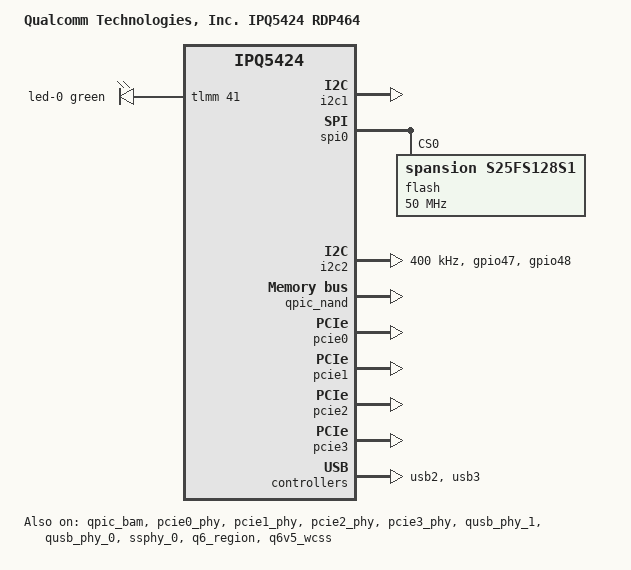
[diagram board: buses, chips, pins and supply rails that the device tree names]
// SPDX-License-Identifier: (GPL-2.0+ OR BSD-3-Clause)
/*
 * IPQ5424 RDP464 board device tree source
 *
 * Copyright (c) 2020-2021 The Linux Foundation. All rights reserved.
 * Copyright (c) 2022-2024 Qualcomm Innovation Center, Inc. All rights reserved.
 */

/dts-v1/;

#include "ipq5424-rdp-common.dtsi"

/ {
	model = "Qualcomm Technologies, Inc. IPQ5424 RDP464";
	compatible = "qcom,ipq5424-rdp464", "qcom,ipq5424";

	soc@0 {
		qupv3: geniqup@1ac0000 {

			i2c0: i2c@1a88000 {
				pinctrl-0 = <&qup_i2c0_default>;
				pinctrl-names = "default";
				status = "disabled";
			};

			i2c1: i2c@1a8c000 {
				pinctrl-0 = <&qup_i2c1_default>;
				pinctrl-names = "default";
				status = "okay";
			};

			spi0: spi@1a90000 {
				pinctrl-0 = <&qup_spi0_default>;
				pinctrl-names = "default";
				status = "okay";

				flash@0 {
					compatible = "spansion,s25fs128s1", "jedec,spi-nor";
					#address-cells = <1>;
					#size-cells = <1>;
					reg = <0>;
					spi-max-frequency = <50000000>;
				};
			};

			/delete-node/ spi@1a94000;

			i2c2: i2c@1a94000 {
				compatible = "qcom,geni-i2c";
				reg = <0x1a94000 0x4000>;
				/* i2c2 shares spi1 clock, so use spi1_clk as per gcc driver */
				clocks = <&gcc GCC_QUPV3_SPI1_CLK>;
				clock-names = "se";
				clock-frequency = <400000>;
				interrupts = <GIC_SPI 344 IRQ_TYPE_LEVEL_HIGH>;
				pinctrl-0 = <&qup_i2c2_default>;
				pinctrl-names = "default";
				status = "okay";
			};
		};

		leds {
			compatible = "gpio-leds";
			pinctrl-0 = <&gpio_leds_default>;
			pinctrl-names = "default";

			led-0 {
				color = <LED_COLOR_ID_GREEN>;
				function = LED_FUNCTION_WLAN;
				gpios = <&tlmm 41 GPIO_ACTIVE_HIGH>;
				linux,default-trigger = "phy0tx";
				default-state = "off";
			};
		};
	};
};

&qpic_bam {
	status = "okay";
};

&qpic_nand {
	status = "okay";
};

&sdhc {
	max-frequency = <192000000>;
	bus-width = <4>;
	mmc-ddr-1_8v;
	mmc-hs200-1_8v;
	non-removable;
	pinctrl-0 = <&sdc_default_state>;
	pinctrl-names = "default";
	status = "disabled";
};

&pcie0_phy {
	status = "okay";
};

&pcie0 {
	status = "okay";

	pcie0_rp {
		reg = <0 0 0 0 0>;

		qcom,mhi@0 {
			reg = <0 0 0 0 0>;
		};
	};
};

&pcie1_phy {
	status = "okay";
};

&pcie1 {
	status = "okay";

	pcie1_rp {
		reg = <0 0 0 0 0>;

		qcom,mhi@0 {
			reg = <0 0 0 0 0>;
		};
	};
};

&pcie2_phy {
	status = "okay";
};

&pcie2 {
	status = "okay";

	pcie2_rp {
		reg = <0 0 0 0 0>;

		qcom,mhi@0 {
			reg = <0 0 0 0 0>;
		};
	};
};

&pcie3_phy {
	status = "okay";
};

&pcie3 {
	status = "okay";

	pcie3_rp {
		reg = <0 0 0 0 0>;

		qcom,mhi@0 {
			reg = <0 0 0 0 0>;
		};
	};
};

&qusb_phy_1 {
	status = "okay";
};

&usb2 {
	status = "okay";
};

&qusb_phy_0 {
	status = "okay";
};

&ssphy_0 {
	status = "okay";
};

&usb3 {
	status = "okay";
};

&q6_region {
	status = "okay";
};

&q6v5_wcss {
	status = "okay";
};

&tlmm {
	qup_i2c2_default: qup-i2c2-default-state {
		qup_i2c2_scl {
			pins = "gpio47";
			/* i2c2 shares spi1, so map spi1_miso function as per pinctrl driver */
			function = "spi1_miso";
			drive-strength = <8>;
			bias-disable;
		};

		qup_i2c2_sda {
			pins = "gpio48";
			/* i2c2 shares spi1, so map spi1_mosi function as per pinctrl driver */
			function = "spi1_mosi";
			drive-strength = <8>;
			bias-pull-up;
		};
	};

	gpio_leds_default: gpio-leds-default-state {
		pins = "gpio41";
		function = "gpio";
		drive-strength = <8>;
		bias-pull-down;
	};
};
